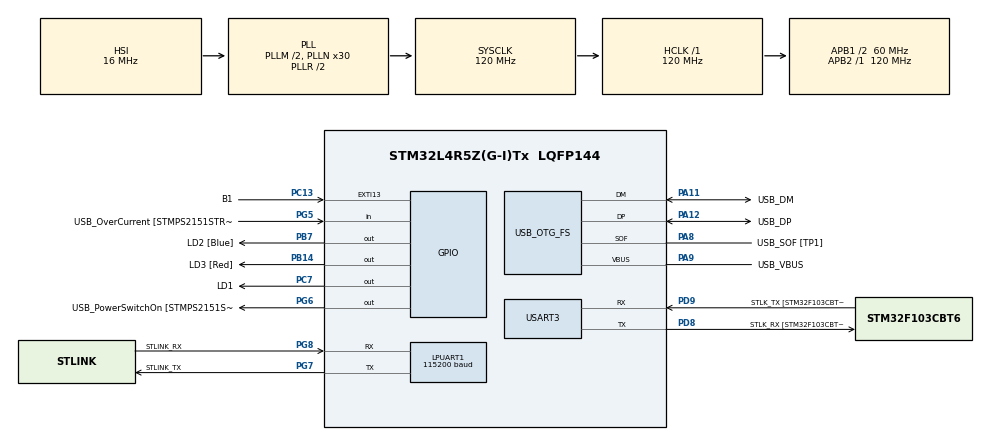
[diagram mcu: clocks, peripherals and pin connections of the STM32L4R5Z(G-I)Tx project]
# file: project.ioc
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Dma.LPUART1_RX.0.Direction=DMA_PERIPH_TO_MEMORY
Dma.LPUART1_RX.0.EventEnable=DISABLE
Dma.LPUART1_RX.0.Instance=DMA1_Channel1
Dma.LPUART1_RX.0.MemDataAlignment=DMA_MDATAALIGN_BYTE
Dma.LPUART1_RX.0.MemInc=DMA_MINC_ENABLE
Dma.LPUART1_RX.0.Mode=DMA_NORMAL
Dma.LPUART1_RX.0.PeriphDataAlignment=DMA_PDATAALIGN_BYTE
Dma.LPUART1_RX.0.PeriphInc=DMA_PINC_DISABLE
Dma.LPUART1_RX.0.Polarity=HAL_DMAMUX_REQUEST_GEN_RISING
Dma.LPUART1_RX.0.Priority=DMA_PRIORITY_LOW
Dma.LPUART1_RX.0.RequestNumber=1
Dma.LPUART1_RX.0.SignalID=NONE
Dma.LPUART1_RX.0.SyncEnable=DISABLE
Dma.LPUART1_RX.0.SyncPolarity=HAL_DMAMUX_SYNC_NO_EVENT
Dma.LPUART1_RX.0.SyncRequestNumber=1
Dma.LPUART1_RX.0.SyncSignalID=NONE
Dma.LPUART1_TX.1.Direction=DMA_MEMORY_TO_PERIPH
Dma.LPUART1_TX.1.EventEnable=DISABLE
Dma.LPUART1_TX.1.Instance=DMA1_Channel2
Dma.LPUART1_TX.1.MemDataAlignment=DMA_MDATAALIGN_BYTE
Dma.LPUART1_TX.1.MemInc=DMA_MINC_ENABLE
Dma.LPUART1_TX.1.Mode=DMA_NORMAL
Dma.LPUART1_TX.1.PeriphDataAlignment=DMA_PDATAALIGN_BYTE
Dma.LPUART1_TX.1.PeriphInc=DMA_PINC_DISABLE
Dma.LPUART1_TX.1.Polarity=HAL_DMAMUX_REQUEST_GEN_RISING
Dma.LPUART1_TX.1.Priority=DMA_PRIORITY_LOW
Dma.LPUART1_TX.1.RequestNumber=1
Dma.LPUART1_TX.1.SignalID=NONE
Dma.LPUART1_TX.1.SyncEnable=DISABLE
Dma.LPUART1_TX.1.SyncPolarity=HAL_DMAMUX_SYNC_NO_EVENT
Dma.LPUART1_TX.1.SyncRequestNumber=1
Dma.LPUART1_TX.1.SyncSignalID=NONE
Dma.Request0=LPUART1_RX
Dma.Request1=LPUART1_TX
LPUART1.BaudRate=115200
LPUART1.WordLength=UART_WORDLENGTH_8B
Mcu.Family=STM32L4
Mcu.Name=STM32L4R5Z(G-I)Tx
Mcu.Package=LQFP144
NVIC.DMA1_Channel1_IRQn=true\:0\:0\:false\:false\:true\:false\:true\:true
NVIC.DMA1_Channel2_IRQn=true\:0\:0\:false\:false\:true\:false\:true\:true
NVIC.LPUART1_IRQn=true\:0\:0\:false\:false\:true\:true\:true\:true
NVIC.PriorityGroup=NVIC_PRIORITYGROUP_4
PA10.GPIO_Label=USB_ID
PA10.Signal=USB_OTG_FS_ID
PA11.GPIO_Label=USB_DM
PA11.Mode=Device_Only
PA11.Signal=USB_OTG_FS_DM
PA12.GPIO_Label=USB_DP
PA12.Mode=Device_Only
PA12.Signal=USB_OTG_FS_DP
PA13\ (JTMS/SWDIO).GPIO_Label=TMS
PA13\ (JTMS/SWDIO).Mode=Trace_Asynchronous_SW
PA13\ (JTMS/SWDIO).Signal=SYS_JTMS-SWDIO
PA14\ (JTCK/SWCLK).GPIO_Label=TCK
PA14\ (JTCK/SWCLK).Mode=Trace_Asynchronous_SW
PA14\ (JTCK/SWCLK).Signal=SYS_JTCK-SWCLK
PA8.GPIO_Label=USB_SOF [TP1]
PA8.Mode=Activate_SOF_FS
PA8.Signal=USB_OTG_FS_SOF
PA9.GPIO_Label=USB_VBUS
PA9.Mode=Activate_VBUS
PA9.Signal=USB_OTG_FS_VBUS
PB14.GPIO_Label=LD3 [Red]
PB14.Signal=GPIO_Output
PB3\ (JTDO/TRACESWO).GPIO_Label=SWO
PB3\ (JTDO/TRACESWO).Mode=Trace_Asynchronous_SW
PB3\ (JTDO/TRACESWO).Signal=SYS_JTDO-SWO
PB7.GPIO_Label=LD2 [Blue]
PB7.Signal=GPIO_Output
PC13.GPIO_Label=B1
PC13.Signal=GPXTI13
PC14-OSC32_IN\ (PC14).Mode=LSE-External-Oscillator
PC14-OSC32_IN\ (PC14).Signal=RCC_OSC32_IN
PC15-OSC32_OUT\ (PC15).Mode=LSE-External-Oscillator
PC15-OSC32_OUT\ (PC15).Signal=RCC_OSC32_OUT
PC7.GPIO_Label=LD1
PC7.Signal=GPIO_Output
PD8.GPIO_Label=STLK_RX [STM32F103CBT6_PA3]
PD8.Mode=Asynchronous
PD8.Signal=USART3_TX
PD9.GPIO_Label=STLK_TX [STM32F103CBT6_PA2]
PD9.Mode=Asynchronous
PD9.Signal=USART3_RX
PG5.GPIO_Label=USB_OverCurrent [STMPS2151STR_FAULT]
PG5.Signal=GPIO_Input
PG6.GPIO_Label=USB_PowerSwitchOn [STMPS2151STR_EN]
PG6.Signal=GPIO_Output
PG7.GPIO_Label=STLINK_TX
PG7.Mode=Asynchronous
PG7.Signal=LPUART1_TX
PG8.GPIO_Label=STLINK_RX
PG8.Mode=Asynchronous
PG8.Signal=LPUART1_RX
PH0-OSC_IN\ (PH0).Signal=RCC_OSC_IN
PH1-OSC_OUT\ (PH1).Signal=RCC_OSC_OUT
ProjectManager.HeapSize=0x200
ProjectManager.StackSize=0x400
ProjectManager.TargetToolchain=STM32CubeIDE
RCC.48MHZClocksFreq_Value=24000000
RCC.ADCFreq_Value=96000000
RCC.AHBFreq_Value=120000000
RCC.APB1CLKDivider=RCC_HCLK_DIV2
RCC.APB1Freq_Value=60000000
RCC.APB1TimFreq_Value=120000000
RCC.APB2Freq_Value=120000000
RCC.APB2TimFreq_Value=120000000
RCC.CK48CLockSelection=RCC_USBCLKSOURCE_HSI48
RCC.CortexFreq_Value=120000000
RCC.HCLKFreq_Value=120000000
RCC.HSE_VALUE=8000000
RCC.HSI48_VALUE=48000000
RCC.HSI_VALUE=16000000
RCC.MSI_VALUE=4000000
RCC.PLLM1=2
RCC.PLLMUL=RCC_PLL_MUL9
RCC.PLLN=30
RCC.PLLSAI1N=12
RCC.PLLSourceVirtual=RCC_PLLSOURCE_HSI
RCC.PRESCALERUSB=RCC_USBCLKSOURCE_PLL_DIV1_5
RCC.SYSCLKFreq_VALUE=120000000
RCC.SYSCLKSource=RCC_SYSCLKSOURCE_PLLCLK
RCC.SYSCLKSourceVirtual=RCC_SYSCLKSOURCE_PLLCLK
RCC.USBFreq_Value=48000000
RCC.VCOOutputFreq_Value=240000000
USART3.VirtualMode-Asynchronous=VM_ASYNC
USB_OTG_FS.VirtualMode=Device_Only
board=NUCLEO-L4R5ZI

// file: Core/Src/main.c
/* USER CODE BEGIN Header */
/**
  ******************************************************************************
  * @file           : main.c
  * @brief          : Main program body
  ******************************************************************************
  * @attention
  *
  * Copyright (c) 2025 STMicroelectronics.
  * All rights reserved.
  *
  * This software is licensed under terms that can be found in the LICENSE file
  * in the root directory of this software component.
  * If no LICENSE file comes with this software, it is provided AS-IS.
  *
  ******************************************************************************
  */
/* USER CODE END Header */
#include "main.h"

/* USER CODE BEGIN Includes */
#include <stdbool.h>

#include <stdio.h>
#include <string.h>
#define SIZEB 50
/* USER CODE END Includes */

UART_HandleTypeDef hlpuart1;
UART_HandleTypeDef huart3;
DMA_HandleTypeDef hdma_lpuart1_rx;
DMA_HandleTypeDef hdma_lpuart1_tx;

PCD_HandleTypeDef hpcd_USB_OTG_FS;

void SystemClock_Config(void);
static void MX_GPIO_Init(void);
static void MX_DMA_Init(void);
static void MX_LPUART1_UART_Init(void);
static void MX_USART3_UART_Init(void);
static void MX_USB_OTG_FS_PCD_Init(void);

/* USER CODE BEGIN 0 */
uint32_t tckLedB = 0;
uint32_t tckLedR = 0;
uint32_t ledRPeriod = 250;
uint32_t state=0;
uint32_t transmitT=0;
uint32_t period=0;
uint32_t tckall=0;
bool change=true;
bool redBlick = false;

bool buttonState = false;
uint32_t tckButton = 0;
uint32_t tckButtonPress= 0;
uint32_t rxpos=0;

char rxbuffer[SIZEB];
char str[20];

void LED_Red_On() { HAL_GPIO_WritePin(LD3_GPIO_Port, LD3_Pin, GPIO_PIN_SET); }
void LED_Red_Off() { HAL_GPIO_WritePin(LD3_GPIO_Port, LD3_Pin, GPIO_PIN_RESET);
redBlick = false;}
void LED_Blue_On() { HAL_GPIO_WritePin(LD2_GPIO_Port, LD2_Pin, GPIO_PIN_SET); }
void LED_Blue_Off() { HAL_GPIO_WritePin(LD2_GPIO_Port, LD2_Pin, GPIO_PIN_RESET); }
void LED_Green_On() { HAL_GPIO_WritePin(LD1_GPIO_Port, LD1_Pin, GPIO_PIN_SET); }
void LED_Green_Off() { HAL_GPIO_WritePin(LD1_GPIO_Port, LD1_Pin, GPIO_PIN_RESET); }

// Pomocné funkce
void transmitState(uint32_t stateNumber) {
    sprintf(str, "Stav %08lu\r\n", stateNumber);
    if (HAL_UART_Transmit(&hlpuart1, (uint8_t *)str, strlen(str), 100) != HAL_OK) {
        Error_Handler();
    }
}

void transmitPeriod(uint32_t period) {
    sprintf(str, "Period red %08lu\r\n", period);
    if (HAL_UART_Transmit(&hlpuart1, (uint8_t *)str, strlen(str), 100) != HAL_OK) {
        Error_Handler();
    }
}

void transmitStateLed() {
	if(redBlick){
		sprintf(str, "Cervena led zapla\r\n");
		    if (HAL_UART_Transmit(&hlpuart1, (uint8_t *)str, strlen(str), 100) != HAL_OK) {
		        Error_Handler();
		    }
	}else{
		sprintf(str, "Cervena led vypla\r\n");
				    if (HAL_UART_Transmit(&hlpuart1, (uint8_t *)str, strlen(str), 100) != HAL_OK) {
				        Error_Handler();
				    }
	}

}

void processCommand(const char *rxbuffer) {
    if (strcmp(rxbuffer, "RON") == 0) {
        state = 5;
        LED_Red_On();
    } else if (strcmp(rxbuffer, "ROFF") == 0) {
    	state = 5;
        LED_Red_Off();
    } else if (strcmp(rxbuffer, "BON") == 0) {
    	state = 5;
    	LED_Blue_On();
    } else if (strcmp(rxbuffer, "BOFF") == 0) {
    	state = 5;
    	LED_Blue_Off();
    } else if (strcmp(rxbuffer, "GON") == 0) {
    	state = 5;
    	LED_Green_On();
    } else if (strcmp(rxbuffer, "GOFF") == 0) {
    	state = 5;
    	LED_Green_Off();
    } else if (strcmp(rxbuffer, "RESET") == 0) {
    	change=true;
        LED_Red_Off();
        LED_Blue_Off();
        LED_Green_Off();
        state=0;
    } else if (strncmp(rxbuffer, "BLIK ", 5) == 0) {
    	LED_Red_Off();
		LED_Blue_Off();
		LED_Green_Off();
    	period = atoi(rxbuffer + 5);
    	state=4;
    }
}

/* USER CODE END 0 */

int main(void)
{

  /* MCU Configuration--------------------------------------------------------*/

  /* Reset of all peripherals, Initializes the Flash interface and the Systick. */
  HAL_Init();

  /* Configure the system clock */
  SystemClock_Config();

  /* Initialize all configured peripherals */
  MX_GPIO_Init();
  MX_DMA_Init();
  MX_LPUART1_UART_Init();
  MX_USART3_UART_Init();
  MX_USB_OTG_FS_PCD_Init();
  /* USER CODE BEGIN 2 */

  HAL_StatusTypeDef err= HAL_UART_Transmit(&hlpuart1, (uint8_t *)"Start programu\r\n", 16, 100);
  if (err != HAL_OK){
	  Error_Handler();
  }

  /* USER CODE END 2 */

  /* Infinite loop */
  while (1)
  {

    /* USER CODE BEGIN 3 */

          if (HAL_UART_Receive(&hlpuart1, (uint8_t *)&rxbuffer[rxpos], 1, 0) == HAL_OK) {
              if (rxbuffer[rxpos] == '\r' || rxbuffer[rxpos] == '\n') {
                  if (rxpos != 0) {
                      HAL_UART_Transmit(&hlpuart1, (uint8_t *)"\r\nPrikaz: ", 10, 100);
                      HAL_UART_Transmit(&hlpuart1, (uint8_t *)rxbuffer, rxpos, 100);
                      HAL_UART_Transmit(&hlpuart1, (uint8_t *)"\r\n", 2, 100);

                      rxbuffer[rxpos] = '\0';
                      processCommand(rxbuffer);
                  }
                  rxpos = 0;
              } else if (rxpos + 1 < SIZEB) {
                  HAL_UART_Transmit(&hlpuart1, (uint8_t *)&rxbuffer[rxpos], 1, 10);
                  rxpos++;
              }
          }

          uint32_t tck = HAL_GetTick();
          bool buttonNow = HAL_GPIO_ReadPin(B1_GPIO_Port, B1_Pin);
          if(change)
          {

        	  if(state==2||state==3){
        		  transmitState(3);
        	  }else{
        		  transmitState(state+1);
        	  }

        	  change=false;
          }

          switch (state) {
              case 0:
                  if (tck - tckLedB >= 250) {
                      tckLedB += 250;
                      HAL_GPIO_TogglePin(LD2_GPIO_Port, LD2_Pin);
                  }
                  if (tck - tckLedR >= 125) {
                      tckLedR += 125;
                      HAL_GPIO_TogglePin(LD3_GPIO_Port, LD3_Pin);
                  }
                  if (buttonState) {
                	  LED_Red_Off();
                      state = 1;
                      change=true;
                  }
                  break;

              case 1:
                  if (tck - tckLedB >= 50) {
                      tckLedB += 50;
                      HAL_GPIO_TogglePin(LD2_GPIO_Port, LD2_Pin);
                  }
                  if (buttonState && (tck - tckButtonPress >= 1000)) {
                      state = 2;
                      change=true;
                  }
                  break;

              case 2:
                  if (tck - tckLedB >= 100) {
                      tckLedB += 100;
                      HAL_GPIO_WritePin(LD2_GPIO_Port, LD2_Pin, GPIO_PIN_SET);
                      state = 3;
                  }
                  if (tck - tckLedR >= ledRPeriod / 2) {
                      tckLedR += ledRPeriod / 2;
                      HAL_GPIO_TogglePin(LD3_GPIO_Port, LD3_Pin);
                  }
                  break;

              case 3:
                  if (tck - tckLedB >= 400) {
                      tckLedB += 400;
                      HAL_GPIO_WritePin(LD2_GPIO_Port, LD2_Pin, GPIO_PIN_RESET);
                      state = 2;
                  }
                  if (tck - tckLedR >= ledRPeriod / 2) {
                      tckLedR += ledRPeriod / 2;
                      HAL_GPIO_TogglePin(LD3_GPIO_Port, LD3_Pin);
                  }
                  break;
              case 4:
            	  if(tck-tckall>=period){
            		  HAL_GPIO_TogglePin(LD1_GPIO_Port, LD1_Pin);
            		  HAL_GPIO_TogglePin(LD2_GPIO_Port, LD2_Pin);
            		  HAL_GPIO_TogglePin(LD3_GPIO_Port, LD3_Pin);
            		  tckall=HAL_GetTick();
            	  }
          }

          if (buttonState) {
              if (buttonNow) {
            	  tckButton=HAL_GetTick();
              }else{
            	  if((tck - tckButton > 20)){
					  buttonState = false;
					  ledRPeriod = tck - tckButtonPress;
					if(state==2||state==3){
						transmitPeriod(ledRPeriod);
					}
				  }
              }

          } else {
              if (buttonNow && (tck - tckButton > 20)) {
                  buttonState = true;
                  tckButtonPress = tck;
                  if (state == 1) {
                      HAL_GPIO_TogglePin(LD3_GPIO_Port, LD3_Pin);
                      redBlick=!redBlick;
                      transmitStateLed();
                  }
              }
          }
      }
}
  /* USER CODE END 3 */

void SystemClock_Config(void)
{
  RCC_OscInitTypeDef RCC_OscInitStruct = {0};
  RCC_ClkInitTypeDef RCC_ClkInitStruct = {0};

  /** Configure the main internal regulator output voltage
  */
  if (HAL_PWREx_ControlVoltageScaling(PWR_REGULATOR_VOLTAGE_SCALE1_BOOST) != HAL_OK)
  {
    Error_Handler();
  }

  /** Initializes the RCC Oscillators according to the specified parameters
  * in the RCC_OscInitTypeDef structure.
  */
  RCC_OscInitStruct.OscillatorType = RCC_OSCILLATORTYPE_HSI48|RCC_OSCILLATORTYPE_HSI;
  RCC_OscInitStruct.HSIState = RCC_HSI_ON;
  RCC_OscInitStruct.HSI48State = RCC_HSI48_ON;
  RCC_OscInitStruct.HSICalibrationValue = RCC_HSICALIBRATION_DEFAULT;
  RCC_OscInitStruct.PLL.PLLState = RCC_PLL_ON;
  RCC_OscInitStruct.PLL.PLLSource = RCC_PLLSOURCE_HSI;
  RCC_OscInitStruct.PLL.PLLM = 2;
  RCC_OscInitStruct.PLL.PLLN = 30;
  RCC_OscInitStruct.PLL.PLLP = RCC_PLLP_DIV2;
  RCC_OscInitStruct.PLL.PLLQ = RCC_PLLQ_DIV2;
  RCC_OscInitStruct.PLL.PLLR = RCC_PLLR_DIV2;
  if (HAL_RCC_OscConfig(&RCC_OscInitStruct) != HAL_OK)
  {
    Error_Handler();
  }

  /** Initializes the CPU, AHB and APB buses clocks
  */
  RCC_ClkInitStruct.ClockType = RCC_CLOCKTYPE_HCLK|RCC_CLOCKTYPE_SYSCLK
                              |RCC_CLOCKTYPE_PCLK1|RCC_CLOCKTYPE_PCLK2;
  RCC_ClkInitStruct.SYSCLKSource = RCC_SYSCLKSOURCE_PLLCLK;
  RCC_ClkInitStruct.AHBCLKDivider = RCC_SYSCLK_DIV1;
  RCC_ClkInitStruct.APB1CLKDivider = RCC_HCLK_DIV2;
  RCC_ClkInitStruct.APB2CLKDivider = RCC_HCLK_DIV1;

  if (HAL_RCC_ClockConfig(&RCC_ClkInitStruct, FLASH_LATENCY_5) != HAL_OK)
  {
    Error_Handler();
  }
}

static void MX_LPUART1_UART_Init(void)
{

  hlpuart1.Instance = LPUART1;
  hlpuart1.Init.BaudRate = 115200;
  hlpuart1.Init.WordLength = UART_WORDLENGTH_8B;
  hlpuart1.Init.StopBits = UART_STOPBITS_1;
  hlpuart1.Init.Parity = UART_PARITY_NONE;
  hlpuart1.Init.Mode = UART_MODE_TX_RX;
  hlpuart1.Init.HwFlowCtl = UART_HWCONTROL_NONE;
  hlpuart1.Init.OneBitSampling = UART_ONE_BIT_SAMPLE_DISABLE;
  hlpuart1.Init.ClockPrescaler = UART_PRESCALER_DIV1;
  hlpuart1.AdvancedInit.AdvFeatureInit = UART_ADVFEATURE_NO_INIT;
  hlpuart1.FifoMode = UART_FIFOMODE_DISABLE;
  if (HAL_UART_Init(&hlpuart1) != HAL_OK)
  {
    Error_Handler();
  }
  if (HAL_UARTEx_SetTxFifoThreshold(&hlpuart1, UART_TXFIFO_THRESHOLD_1_8) != HAL_OK)
  {
    Error_Handler();
  }
  if (HAL_UARTEx_SetRxFifoThreshold(&hlpuart1, UART_RXFIFO_THRESHOLD_1_8) != HAL_OK)
  {
    Error_Handler();
  }
  if (HAL_UARTEx_DisableFifoMode(&hlpuart1) != HAL_OK)
  {
    Error_Handler();
  }

}

static void MX_USART3_UART_Init(void)
{

  huart3.Instance = USART3;
  huart3.Init.BaudRate = 115200;
  huart3.Init.WordLength = UART_WORDLENGTH_8B;
  huart3.Init.StopBits = UART_STOPBITS_1;
  huart3.Init.Parity = UART_PARITY_NONE;
  huart3.Init.Mode = UART_MODE_TX_RX;
  huart3.Init.HwFlowCtl = UART_HWCONTROL_NONE;
  huart3.Init.OverSampling = UART_OVERSAMPLING_16;
  huart3.Init.OneBitSampling = UART_ONE_BIT_SAMPLE_DISABLE;
  huart3.Init.ClockPrescaler = UART_PRESCALER_DIV1;
  huart3.AdvancedInit.AdvFeatureInit = UART_ADVFEATURE_NO_INIT;
  if (HAL_UART_Init(&huart3) != HAL_OK)
  {
    Error_Handler();
  }
  if (HAL_UARTEx_SetTxFifoThreshold(&huart3, UART_TXFIFO_THRESHOLD_1_8) != HAL_OK)
  {
    Error_Handler();
  }
  if (HAL_UARTEx_SetRxFifoThreshold(&huart3, UART_RXFIFO_THRESHOLD_1_8) != HAL_OK)
  {
    Error_Handler();
  }
  if (HAL_UARTEx_DisableFifoMode(&huart3) != HAL_OK)
  {
    Error_Handler();
  }

}

static void MX_USB_OTG_FS_PCD_Init(void)
{

  hpcd_USB_OTG_FS.Instance = USB_OTG_FS;
  hpcd_USB_OTG_FS.Init.dev_endpoints = 6;
  hpcd_USB_OTG_FS.Init.speed = PCD_SPEED_FULL;
  hpcd_USB_OTG_FS.Init.phy_itface = PCD_PHY_EMBEDDED;
  hpcd_USB_OTG_FS.Init.Sof_enable = ENABLE;
  hpcd_USB_OTG_FS.Init.low_power_enable = DISABLE;
  hpcd_USB_OTG_FS.Init.lpm_enable = DISABLE;
  hpcd_USB_OTG_FS.Init.battery_charging_enable = ENABLE;
  hpcd_USB_OTG_FS.Init.use_dedicated_ep1 = DISABLE;
  hpcd_USB_OTG_FS.Init.vbus_sensing_enable = ENABLE;
  if (HAL_PCD_Init(&hpcd_USB_OTG_FS) != HAL_OK)
  {
    Error_Handler();
  }

}

static void MX_DMA_Init(void)
{

  /* DMA controller clock enable */
  __HAL_RCC_DMAMUX1_CLK_ENABLE();
  __HAL_RCC_DMA1_CLK_ENABLE();

  /* DMA interrupt init */
  /* DMA1_Channel1_IRQn interrupt configuration */
  HAL_NVIC_SetPriority(DMA1_Channel1_IRQn, 0, 0);
  HAL_NVIC_EnableIRQ(DMA1_Channel1_IRQn);
  /* DMA1_Channel2_IRQn interrupt configuration */
  HAL_NVIC_SetPriority(DMA1_Channel2_IRQn, 0, 0);
  HAL_NVIC_EnableIRQ(DMA1_Channel2_IRQn);

}

static void MX_GPIO_Init(void)
{
  GPIO_InitTypeDef GPIO_InitStruct = {0};

  /* GPIO Ports Clock Enable */
  __HAL_RCC_GPIOC_CLK_ENABLE();
  __HAL_RCC_GPIOH_CLK_ENABLE();
  __HAL_RCC_GPIOB_CLK_ENABLE();
  __HAL_RCC_GPIOD_CLK_ENABLE();
  __HAL_RCC_GPIOG_CLK_ENABLE();
  HAL_PWREx_EnableVddIO2();
  __HAL_RCC_GPIOA_CLK_ENABLE();

  /*Configure GPIO pin Output Level */
  HAL_GPIO_WritePin(GPIOB, LD3_Pin|LD2_Pin, GPIO_PIN_RESET);

  /*Configure GPIO pin Output Level */
  HAL_GPIO_WritePin(USB_PowerSwitchOn_GPIO_Port, USB_PowerSwitchOn_Pin, GPIO_PIN_RESET);

  /*Configure GPIO pin Output Level */
  HAL_GPIO_WritePin(LD1_GPIO_Port, LD1_Pin, GPIO_PIN_RESET);

  /*Configure GPIO pin : B1_Pin */
  GPIO_InitStruct.Pin = B1_Pin;
  GPIO_InitStruct.Mode = GPIO_MODE_IT_RISING;
  GPIO_InitStruct.Pull = GPIO_NOPULL;
  HAL_GPIO_Init(B1_GPIO_Port, &GPIO_InitStruct);

  /*Configure GPIO pins : LD3_Pin LD2_Pin */
  GPIO_InitStruct.Pin = LD3_Pin|LD2_Pin;
  GPIO_InitStruct.Mode = GPIO_MODE_OUTPUT_PP;
  GPIO_InitStruct.Pull = GPIO_NOPULL;
  GPIO_InitStruct.Speed = GPIO_SPEED_FREQ_LOW;
  HAL_GPIO_Init(GPIOB, &GPIO_InitStruct);

  /*Configure GPIO pin : USB_OverCurrent_Pin */
  GPIO_InitStruct.Pin = USB_OverCurrent_Pin;
  GPIO_InitStruct.Mode = GPIO_MODE_INPUT;
  GPIO_InitStruct.Pull = GPIO_NOPULL;
  HAL_GPIO_Init(USB_OverCurrent_GPIO_Port, &GPIO_InitStruct);

  /*Configure GPIO pin : USB_PowerSwitchOn_Pin */
  GPIO_InitStruct.Pin = USB_PowerSwitchOn_Pin;
  GPIO_InitStruct.Mode = GPIO_MODE_OUTPUT_PP;
  GPIO_InitStruct.Pull = GPIO_NOPULL;
  GPIO_InitStruct.Speed = GPIO_SPEED_FREQ_LOW;
  HAL_GPIO_Init(USB_PowerSwitchOn_GPIO_Port, &GPIO_InitStruct);

  /*Configure GPIO pin : LD1_Pin */
  GPIO_InitStruct.Pin = LD1_Pin;
  GPIO_InitStruct.Mode = GPIO_MODE_OUTPUT_PP;
  GPIO_InitStruct.Pull = GPIO_NOPULL;
  GPIO_InitStruct.Speed = GPIO_SPEED_FREQ_LOW;
  HAL_GPIO_Init(LD1_GPIO_Port, &GPIO_InitStruct);

}

void Error_Handler(void)
{
  __disable_irq();
  while (1)
  {
  }
}
